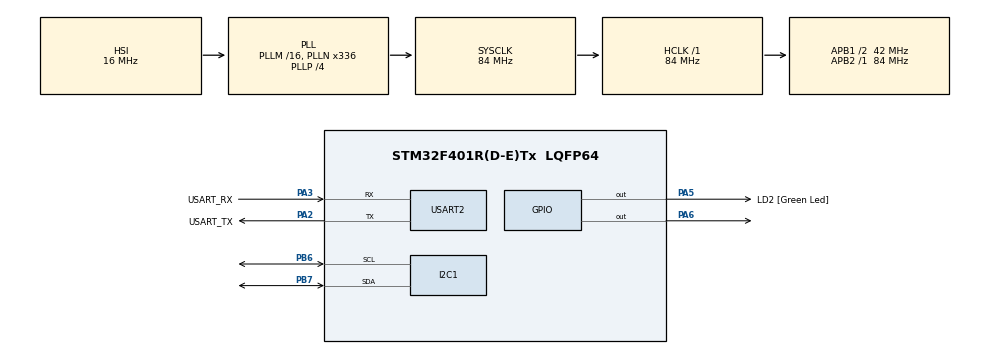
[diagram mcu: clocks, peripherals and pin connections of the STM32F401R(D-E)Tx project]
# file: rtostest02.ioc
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FREERTOS.Tasks01=defaultTask,0,128,StartDefaultTask,Default,NULL,Dynamic,NULL,NULL
I2C1.I2C_Mode=I2C_Fast
Mcu.Family=STM32F4
Mcu.Name=STM32F401R(D-E)Tx
Mcu.Package=LQFP64
NVIC.PriorityGroup=NVIC_PRIORITYGROUP_4
NVIC.USART2_IRQn=true\:5\:0\:false\:false\:true\:true\:true\:true\:true
PA2.GPIO_Label=USART_TX
PA2.GPIO_Mode=GPIO_MODE_AF_PP
PA2.GPIO_PuPd=GPIO_NOPULL
PA2.GPIO_Speed=GPIO_SPEED_FREQ_LOW
PA2.Mode=Asynchronous
PA2.Signal=USART2_TX
PA3.GPIO_Label=USART_RX
PA3.GPIO_Mode=GPIO_MODE_AF_PP
PA3.GPIO_PuPd=GPIO_NOPULL
PA3.GPIO_Speed=GPIO_SPEED_FREQ_LOW
PA3.Mode=Asynchronous
PA3.Signal=USART2_RX
PA5.GPIO_Label=LD2 [Green Led]
PA5.GPIO_Mode=GPIO_MODE_OUTPUT_PP
PA5.GPIO_PuPd=GPIO_NOPULL
PA5.GPIO_Speed=GPIO_SPEED_FREQ_LOW
PA5.Signal=GPIO_Output
PA6.Signal=GPIO_Output
PB6.Mode=I2C
PB6.Signal=I2C1_SCL
PB7.Mode=I2C
PB7.Signal=I2C1_SDA
ProjectManager.HeapSize=0x200
ProjectManager.StackSize=0x400
ProjectManager.TargetToolchain=STM32CubeIDE
RCC.48MHZClocksFreq_Value=48000000
RCC.AHBFreq_Value=84000000
RCC.APB1CLKDivider=RCC_HCLK_DIV2
RCC.APB1Freq_Value=42000000
RCC.APB1TimFreq_Value=84000000
RCC.APB2Freq_Value=84000000
RCC.APB2TimFreq_Value=84000000
RCC.CortexFreq_Value=84000000
RCC.HCLKFreq_Value=84000000
RCC.HSE_VALUE=8000000
RCC.HSI_VALUE=16000000
RCC.PLLN=336
RCC.PLLP=RCC_PLLP_DIV4
RCC.PLLQ=7
RCC.SYSCLKFreq_VALUE=84000000
RCC.SYSCLKSource=RCC_SYSCLKSOURCE_PLLCLK
RCC.VCOOutputFreq_Value=336000000
USART2.VirtualMode=VM_ASYNC
VP_FREERTOS_VS_CMSIS_V1.Mode=CMSIS_V1
board=NUCLEO-F401RE

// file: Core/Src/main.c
/* USER CODE BEGIN Header */
/**
  ******************************************************************************
  * @file           : main.c
  * @brief          : Main program body
  ******************************************************************************
  * @attention
  *
  * Copyright (c) 2022 STMicroelectronics.
  * All rights reserved.
  *
  * This software is licensed under terms that can be found in the LICENSE file
  * in the root directory of this software component.
  * If no LICENSE file comes with this software, it is provided AS-IS.
  *
  ******************************************************************************
  */
/* USER CODE END Header */
#include "main.h"
#include "cmsis_os.h"
#include "i2c.h"
#include "usart.h"
#include "gpio.h"
#include "ap3426.h"

void SystemClock_Config(void);
void MX_FREERTOS_Init(void);

int main(void)
{

  /* MCU Configuration--------------------------------------------------------*/

  /* Reset of all peripherals, Initializes the Flash interface and the Systick. */
  HAL_Init();

  /* Configure the system clock */
  SystemClock_Config();

  /* Initialize all configured peripherals */
  MX_GPIO_Init();
  MX_USART2_UART_Init();
  MX_I2C1_Init();

  /* Call init function for freertos objects (in freertos.c) */
  MX_FREERTOS_Init();

  /* Start scheduler */
  osKernelStart();

  /* We should never get here as control is now taken by the scheduler */
  /* Infinite loop */
  while (1)
  {

  }
}

void SystemClock_Config(void)
{
  RCC_OscInitTypeDef RCC_OscInitStruct = {0};
  RCC_ClkInitTypeDef RCC_ClkInitStruct = {0};

  /** Configure the main internal regulator output voltage
  */
  __HAL_RCC_PWR_CLK_ENABLE();
  __HAL_PWR_VOLTAGESCALING_CONFIG(PWR_REGULATOR_VOLTAGE_SCALE2);

  /** Initializes the RCC Oscillators according to the specified parameters
  * in the RCC_OscInitTypeDef structure.
  */
  RCC_OscInitStruct.OscillatorType = RCC_OSCILLATORTYPE_HSI;
  RCC_OscInitStruct.HSIState = RCC_HSI_ON;
  RCC_OscInitStruct.HSICalibrationValue = RCC_HSICALIBRATION_DEFAULT;
  RCC_OscInitStruct.PLL.PLLState = RCC_PLL_ON;
  RCC_OscInitStruct.PLL.PLLSource = RCC_PLLSOURCE_HSI;
  RCC_OscInitStruct.PLL.PLLM = 16;
  RCC_OscInitStruct.PLL.PLLN = 336;
  RCC_OscInitStruct.PLL.PLLP = RCC_PLLP_DIV4;
  RCC_OscInitStruct.PLL.PLLQ = 7;
  if (HAL_RCC_OscConfig(&RCC_OscInitStruct) != HAL_OK)
  {
    Error_Handler();
  }

  /** Initializes the CPU, AHB and APB buses clocks
  */
  RCC_ClkInitStruct.ClockType = RCC_CLOCKTYPE_HCLK|RCC_CLOCKTYPE_SYSCLK
                              |RCC_CLOCKTYPE_PCLK1|RCC_CLOCKTYPE_PCLK2;
  RCC_ClkInitStruct.SYSCLKSource = RCC_SYSCLKSOURCE_PLLCLK;
  RCC_ClkInitStruct.AHBCLKDivider = RCC_SYSCLK_DIV1;
  RCC_ClkInitStruct.APB1CLKDivider = RCC_HCLK_DIV2;
  RCC_ClkInitStruct.APB2CLKDivider = RCC_HCLK_DIV1;

  if (HAL_RCC_ClockConfig(&RCC_ClkInitStruct, FLASH_LATENCY_2) != HAL_OK)
  {
    Error_Handler();
  }
}

void Error_Handler(void)
{
  __disable_irq();
  while (1)
  {
  }
}

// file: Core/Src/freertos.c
/* USER CODE BEGIN Header */
/**
  ******************************************************************************
  * File Name          : freertos.c
  * Description        : Code for freertos applications
  ******************************************************************************
  * @attention
  *
  * Copyright (c) 2022 STMicroelectronics.
  * All rights reserved.
  *
  * This software is licensed under terms that can be found in the LICENSE file
  * in the root directory of this software component.
  * If no LICENSE file comes with this software, it is provided AS-IS.
  *
  ******************************************************************************
  */
/* USER CODE END Header */

#include "gpio.h"
#include "i2c.h"
#include "FreeRTOS.h"
#include "task.h"
#include "main.h"
#include "cmsis_os.h"
#include "usart.h"
#include "ap3426.h"

/* USER CODE BEGIN PTD */
extern I2C_HandleTypeDef hi2c1;
extern UART_HandleTypeDef huart2;
/* USER CODE END PTD */

osThreadId defaultTaskHandle;

void StartDefaultTask(void const * argument);

void MX_FREERTOS_Init(void); /* (MISRA C 2004 rule 8.1) */

/* GetIdleTaskMemory prototype (linked to static allocation support) */
void vApplicationGetIdleTaskMemory( StaticTask_t **ppxIdleTaskTCBBuffer, StackType_t **ppxIdleTaskStackBuffer, uint32_t *pulIdleTaskStackSize );

/* USER CODE BEGIN GET_IDLE_TASK_MEMORY */
static StaticTask_t xIdleTaskTCBBuffer;
static StackType_t xIdleStack[configMINIMAL_STACK_SIZE];

void vApplicationGetIdleTaskMemory( StaticTask_t **ppxIdleTaskTCBBuffer, StackType_t **ppxIdleTaskStackBuffer, uint32_t *pulIdleTaskStackSize )
{
  *ppxIdleTaskTCBBuffer = &xIdleTaskTCBBuffer;
  *ppxIdleTaskStackBuffer = &xIdleStack[0];
  *pulIdleTaskStackSize = configMINIMAL_STACK_SIZE;
  /* place for user code */
}
/* USER CODE END GET_IDLE_TASK_MEMORY */

void MX_FREERTOS_Init(void) {

  /* Create the thread(s) */
  /* definition and creation of defaultTask */
  osThreadDef(defaultTask, StartDefaultTask, osPriorityNormal, 0, 128);
  defaultTaskHandle = osThreadCreate(osThread(defaultTask), NULL);

}

void StartDefaultTask(void const * argument)
{
  /* USER CODE BEGIN StartDefaultTask */
  /* Infinite loop */
	AP3426_WriteOneByte(SYS_CONTROL_ADDR,AP3426_MODE_SW_RESET ); // AP3426 execute reset
	osDelay(50);
	AP3426_WriteOneByte(SYS_CONTROL_ADDR,AP3426_MODE_IR_ALS_AND_PS ); // AP3426 enable IR, ALS and PsData
	osDelay(50);
	AP3426_WriteOneByte(PS_Low_LowThreshold, Init_ps_lowThreshold); //PS Low Threshold=0x200
	osDelay(50);
	AP3426_WriteOneByte(PS_High_LowThreshold, Init_pshi_lowbyteThreshold); //PS High Threshold=500
	AP3426_WriteOneByte(PS_High_LowThreshold, Init_pshi_upbyteThreshold); //PS High Threshold=500
	osDelay(50);
  for(;;)
  {
      //Print ALS ADC value
	  uint16_t *als;
	  uint8_t als_l = 0, als_h = 0;
	  als_l = AP3426_ReadOneByte(ALS_Data_Low);
	  als_h = AP3426_ReadOneByte(ALS_Data_High);
	  *als = (als_h << 8) | (als_l);
	  AP3426_Read_ALS_Data(&als);
	  printf("AP3426 ALS = 0x%x\n\r", als);

	  osDelay(100);

	  HAL_GPIO_WritePin(GPIOA, LD2_Pin, GPIO_PIN_SET);	//PA5 High
	  osDelay(500);// Delay 500ms
	  HAL_GPIO_WritePin(GPIOA, LD2_Pin, GPIO_PIN_RESET);//PA5 Low
	  osDelay(500);// Delay 500ms

  }
  /* USER CODE END StartDefaultTask */
}
